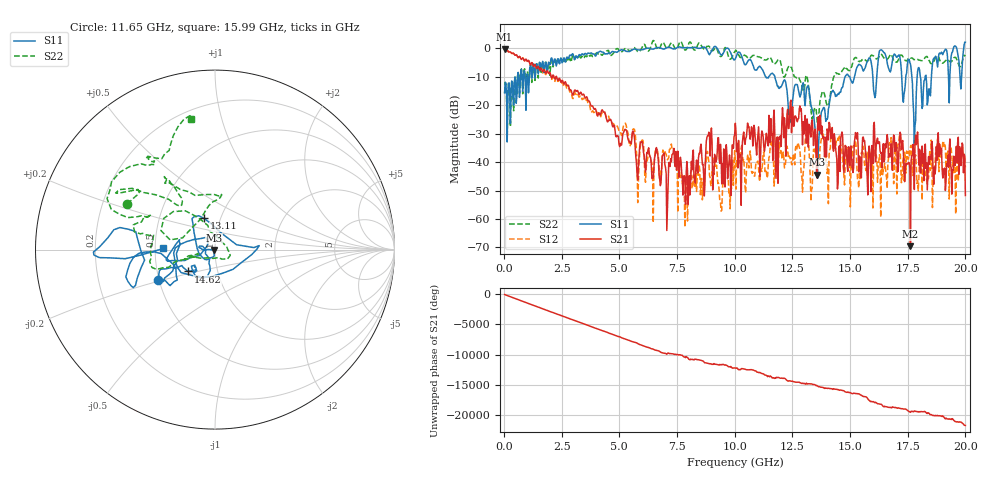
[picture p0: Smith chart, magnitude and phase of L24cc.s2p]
! S Parameters saved at 09:52:52 07/03/07
# HZ DB S R 50
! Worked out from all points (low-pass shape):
!   714 points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, 28.01 MHz to 20 GHz, reference 50 ohm
!   highest |S21| = -0.37 dB at 28.01 MHz (marker M1); lowest = -69.5 dB at 17.62 GHz (marker M2)
!   |S21| within 3 dB of the highest: start of sweep to 714.1 MHz
!   lowest |S11| = -44.5 dB at 13.59 GHz (marker M3), VSWR 1.01, Z = 49.4 - j0.165 ohm
!   |S11| at or under -10 dB: start of sweep to 588.5 MHz; 11.74 GHz to 14.79 GHz (3.046 GHz wide, 23 % of centre); 17.68 GHz to 17.91 GHz (229.6 MHz wide, 1.29 % of centre)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
!   |S22| runs from -32.4 to 2.7 dB; largest |S21 - S12| = 0.13
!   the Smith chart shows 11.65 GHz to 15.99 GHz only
!   S11 on the Smith chart (normalised r, x): 11.65 GHz: 0.50, -0.19; 13.11 GHz: 0.83, +0.30; 14.62 GHz: 0.72, -0.18; 15.99 GHz: 0.55, +0.01
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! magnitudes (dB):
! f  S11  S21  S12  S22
! 28.01 MHz  -15.7  -0.4  -0.3  -15.8
! 3.361 GHz  -2.2  -16.0  -17.5  -3.0
! 6.695 GHz  0.2  -39.9  -38.1  -0.4
! 7.255 GHz  0.1  -39.9  -33.7  1.9
! 7.927 GHz  0.2  -39.8  -49.0  -0.1
! 8.908 GHz  -2.3  -30.2  -44.6  0.5
! 9.776 GHz  -0.8  -37.5  -50.0  -3.8
! 10.03 GHz  -3.7  -26.4  -39.0  -0.8
! 10.22 GHz  -1.5  -37.3  -40.4  -3.2
! 11.65 GHz  -8.9  -39.5  -32.9  -5.2
! 12.41 GHz  -25.7  -19.0  -38.8  -6.5
! 12.94 GHz  -12.7  -33.9  -50.6  -14.5
! 13.11 GHz  -14.6  -33.3  -28.3  -9.5
! 13.36 GHz  -21.6  -25.2  -49.0  -24.9
! 13.59 GHz  -44.5  -29.1  -45.7  -26.4
! 14.62 GHz  -14.3  -30.4  -34.5  -8.6
! 15.99 GHz  -10.8  -40.6  -56.1  -2.6
! 16.69 GHz  -7.6  -37.1  -33.5  -3.0
! 17.62 GHz  -5.6  -69.5  -34.6  -3.5
! 17.79 GHz  -34.2  -49.7  -35.8  -4.0
! 17.98 GHz  -6.8  -41.1  -45.9  -4.2
! 20 GHz  2.1  -51.7  -41.9  -2.5
